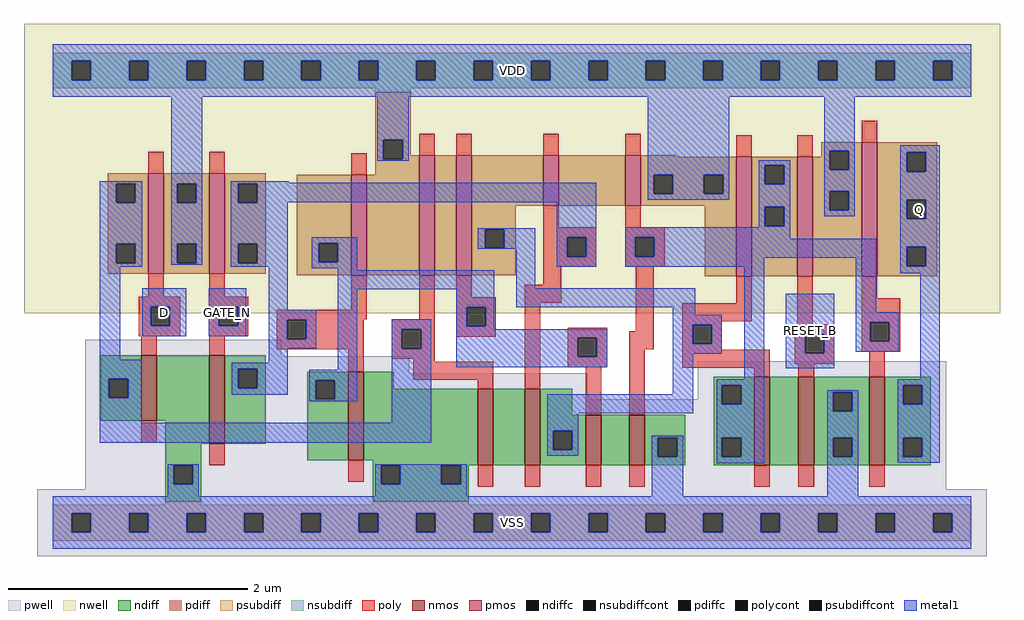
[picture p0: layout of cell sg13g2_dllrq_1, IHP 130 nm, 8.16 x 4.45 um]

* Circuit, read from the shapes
.subckt sg13g2_dllrq_1 GATE_N VSS VDD Q RESET_B D
XM1 VSS D n1 VSS sg13_lv_nmos w=0.55u l=0.13u
XM2 n2 GATE_N VSS VSS sg13_lv_nmos w=0.74u l=0.13u
XM3 VSS n2 n3 VSS sg13_lv_nmos w=0.74u l=0.13u
XM4 n4 n1 VSS VSS sg13_lv_nmos w=0.64u l=0.13u
XM5 n5 n2 n4 VSS sg13_lv_nmos w=0.64u l=0.13u
XM6 n6 n3 n5 VSS sg13_lv_nmos w=0.42u l=0.13u
XM7 VSS n7 n6 VSS sg13_lv_nmos w=0.42u l=0.13u
XM8 n8 n5 n7 VSS sg13_lv_nmos w=0.74u l=0.13u
XM9 VSS RESET_B n8 VSS sg13_lv_nmos w=0.74u l=0.13u
XM10 Q n7 VSS VSS sg13_lv_nmos w=0.74u l=0.13u
XM11 VDD D n1 VDD sg13_lv_pmos w=0.84u l=0.13u
XM12 n2 GATE_N VDD VDD sg13_lv_pmos w=0.84u l=0.13u
XM13 VDD n2 n3 VDD sg13_lv_pmos w=0.84u l=0.13u
XM14 n9 n1 VDD VDD sg13_lv_pmos w=1u l=0.13u
XM15 n5 n3 n9 VDD sg13_lv_pmos w=1u l=0.13u
XM16 n10 n2 n5 VDD sg13_lv_pmos w=0.42u l=0.13u
XM17 VDD n7 n10 VDD sg13_lv_pmos w=0.42u l=0.13u
XM18 n7 n5 VDD VDD sg13_lv_pmos w=1u l=0.13u
XM19 VDD RESET_B n7 VDD sg13_lv_pmos w=1u l=0.13u
XM20 Q n7 VDD VDD sg13_lv_pmos w=1.12u l=0.13u
.ends

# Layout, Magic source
magic
tech ihp-sg13g2
magscale 1 2
<< nwell >>
rect -48 350 1584 834
<< pwell >>
rect 54 278 382 306
rect 54 250 596 278
rect 54 206 895 250
rect 1079 206 1494 270
rect 54 56 1494 206
rect -26 -56 1562 56
<< nmos >>
rect 148 170 174 280
rect 262 132 288 280
rect 494 104 520 252
rect 711 96 737 224
rect 789 96 815 224
rect 891 96 917 180
rect 964 96 990 180
rect 1173 96 1199 244
rect 1247 96 1273 244
rect 1365 96 1391 244
<< pmos >>
rect 160 416 186 584
rect 262 416 288 584
rect 499 414 525 582
rect 613 414 639 614
rect 675 414 701 614
rect 820 530 846 614
rect 957 530 983 614
rect 1143 412 1169 612
rect 1245 412 1271 612
rect 1353 412 1379 636
<< ndiff >>
rect 80 241 148 280
rect 80 209 94 241
rect 126 209 148 241
rect 80 170 148 209
rect 174 170 262 280
rect 188 132 262 170
rect 288 257 356 280
rect 288 225 310 257
rect 342 225 356 257
rect 288 132 356 225
rect 426 238 494 252
rect 426 206 440 238
rect 472 206 494 238
rect 188 96 248 132
rect 426 104 494 206
rect 520 224 570 252
rect 520 104 711 224
rect 188 64 202 96
rect 234 64 248 96
rect 535 96 711 104
rect 737 96 789 224
rect 815 180 869 224
rect 1105 230 1173 244
rect 1105 198 1119 230
rect 1151 198 1173 230
rect 815 154 891 180
rect 815 122 837 154
rect 869 122 891 154
rect 815 96 891 122
rect 917 96 964 180
rect 990 142 1058 180
rect 990 110 1012 142
rect 1044 110 1058 142
rect 990 96 1058 110
rect 1105 142 1173 198
rect 1105 110 1119 142
rect 1151 110 1173 142
rect 1105 96 1173 110
rect 1199 96 1247 244
rect 1273 218 1365 244
rect 1273 186 1305 218
rect 1337 186 1365 218
rect 1273 142 1365 186
rect 1273 110 1305 142
rect 1337 110 1365 142
rect 1273 96 1365 110
rect 1391 230 1468 244
rect 1391 198 1422 230
rect 1454 198 1468 230
rect 1391 142 1468 198
rect 1391 110 1422 142
rect 1454 110 1468 142
rect 1391 96 1468 110
rect 188 36 248 64
rect 535 64 549 96
rect 581 64 650 96
rect 682 64 696 96
rect 535 36 696 64
<< pdiff >>
rect 539 640 599 720
rect 92 567 160 584
rect 92 535 106 567
rect 138 535 160 567
rect 92 466 160 535
rect 92 434 106 466
rect 138 434 160 466
rect 92 416 160 434
rect 186 567 262 584
rect 186 535 208 567
rect 240 535 262 567
rect 186 466 262 535
rect 186 434 208 466
rect 240 434 262 466
rect 186 416 262 434
rect 288 567 356 584
rect 539 608 553 640
rect 585 614 599 640
rect 585 608 613 614
rect 539 582 613 608
rect 288 535 310 567
rect 342 535 356 567
rect 288 466 356 535
rect 288 434 310 466
rect 342 434 356 466
rect 288 416 356 434
rect 408 467 499 582
rect 408 435 445 467
rect 477 435 499 467
rect 408 414 499 435
rect 525 414 613 582
rect 639 414 675 614
rect 701 530 820 614
rect 846 530 957 614
rect 983 612 1043 614
rect 1285 622 1353 636
rect 1285 612 1299 622
rect 983 582 1143 612
rect 983 550 1005 582
rect 1037 550 1089 582
rect 1121 550 1143 582
rect 983 530 1143 550
rect 701 491 774 530
rect 701 459 723 491
rect 755 459 774 491
rect 701 414 774 459
rect 1090 412 1143 530
rect 1169 598 1245 612
rect 1169 566 1191 598
rect 1223 566 1245 598
rect 1169 528 1245 566
rect 1169 496 1191 528
rect 1223 496 1245 528
rect 1169 412 1245 496
rect 1271 590 1299 612
rect 1331 590 1353 622
rect 1271 554 1353 590
rect 1271 522 1299 554
rect 1331 522 1353 554
rect 1271 412 1353 522
rect 1379 619 1479 636
rect 1379 587 1428 619
rect 1460 587 1479 619
rect 1379 540 1479 587
rect 1379 508 1428 540
rect 1460 508 1479 540
rect 1379 461 1479 508
rect 1379 429 1428 461
rect 1460 429 1479 461
rect 1379 412 1479 429
<< ndiffc >>
rect 94 209 126 241
rect 310 225 342 257
rect 440 206 472 238
rect 202 64 234 96
rect 1119 198 1151 230
rect 837 122 869 154
rect 1012 110 1044 142
rect 1119 110 1151 142
rect 1305 186 1337 218
rect 1305 110 1337 142
rect 1422 198 1454 230
rect 1422 110 1454 142
rect 549 64 581 96
rect 650 64 682 96
<< pdiffc >>
rect 106 535 138 567
rect 106 434 138 466
rect 208 535 240 567
rect 208 434 240 466
rect 553 608 585 640
rect 310 535 342 567
rect 310 434 342 466
rect 445 435 477 467
rect 1005 550 1037 582
rect 1089 550 1121 582
rect 723 459 755 491
rect 1191 566 1223 598
rect 1191 496 1223 528
rect 1299 590 1331 622
rect 1299 522 1331 554
rect 1428 587 1460 619
rect 1428 508 1460 540
rect 1428 429 1460 461
<< psubdiff >>
rect 188 30 248 36
rect 535 30 696 36
rect 0 16 1536 30
rect 0 -16 32 16
rect 64 -16 128 16
rect 160 -16 224 16
rect 256 -16 320 16
rect 352 -16 416 16
rect 448 -16 512 16
rect 544 -16 608 16
rect 640 -16 704 16
rect 736 -16 800 16
rect 832 -16 896 16
rect 928 -16 992 16
rect 1024 -16 1088 16
rect 1120 -16 1184 16
rect 1216 -16 1280 16
rect 1312 -16 1376 16
rect 1408 -16 1472 16
rect 1504 -16 1536 16
rect 0 -30 1536 -16
<< nsubdiff >>
rect 0 772 1536 786
rect 0 740 32 772
rect 64 740 128 772
rect 160 740 224 772
rect 256 740 320 772
rect 352 740 416 772
rect 448 740 512 772
rect 544 740 608 772
rect 640 740 704 772
rect 736 740 800 772
rect 832 740 896 772
rect 928 740 992 772
rect 1024 740 1088 772
rect 1120 740 1184 772
rect 1216 740 1280 772
rect 1312 740 1376 772
rect 1408 740 1472 772
rect 1504 740 1536 772
rect 0 726 1536 740
rect 539 720 599 726
<< psubdiffcont >>
rect 32 -16 64 16
rect 128 -16 160 16
rect 224 -16 256 16
rect 320 -16 352 16
rect 416 -16 448 16
rect 512 -16 544 16
rect 608 -16 640 16
rect 704 -16 736 16
rect 800 -16 832 16
rect 896 -16 928 16
rect 992 -16 1024 16
rect 1088 -16 1120 16
rect 1184 -16 1216 16
rect 1280 -16 1312 16
rect 1376 -16 1408 16
rect 1472 -16 1504 16
<< nsubdiffcont >>
rect 32 740 64 772
rect 128 740 160 772
rect 224 740 256 772
rect 320 740 352 772
rect 416 740 448 772
rect 512 740 544 772
rect 608 740 640 772
rect 704 740 736 772
rect 800 740 832 772
rect 896 740 928 772
rect 992 740 1024 772
rect 1088 740 1120 772
rect 1184 740 1216 772
rect 1280 740 1312 772
rect 1376 740 1408 772
rect 1472 740 1504 772
<< poly >>
rect 160 584 186 620
rect 262 584 288 620
rect 499 582 525 618
rect 613 614 639 650
rect 675 614 701 650
rect 820 614 846 650
rect 957 614 983 650
rect 160 378 186 416
rect 262 378 288 416
rect 1143 612 1169 648
rect 1245 612 1271 648
rect 1353 636 1379 672
rect 820 494 846 530
rect 957 494 983 530
rect 820 477 909 494
rect 820 445 860 477
rect 892 445 909 477
rect 820 428 909 445
rect 957 477 1023 494
rect 957 445 974 477
rect 1006 445 1023 477
rect 957 428 1023 445
rect 144 361 213 378
rect 144 329 164 361
rect 196 329 213 361
rect 144 312 213 329
rect 261 361 327 378
rect 261 329 278 361
rect 310 329 327 361
rect 499 356 525 414
rect 261 312 327 329
rect 375 340 525 356
rect 613 340 639 414
rect 375 339 520 340
rect 148 280 174 312
rect 262 280 288 312
rect 375 307 392 339
rect 424 307 520 339
rect 375 290 520 307
rect 148 134 174 170
rect 494 252 520 290
rect 567 323 639 340
rect 567 291 584 323
rect 616 291 639 323
rect 675 377 701 414
rect 820 398 850 428
rect 675 360 741 377
rect 675 328 692 360
rect 724 328 741 360
rect 675 311 741 328
rect 789 368 850 398
rect 567 274 639 291
rect 603 269 639 274
rect 262 96 288 132
rect 603 239 737 269
rect 711 224 737 239
rect 789 224 815 368
rect 861 309 927 326
rect 975 320 1005 428
rect 1143 367 1169 412
rect 861 277 878 309
rect 910 277 927 309
rect 861 260 927 277
rect 964 290 1005 320
rect 1053 337 1169 367
rect 1053 331 1119 337
rect 1245 332 1271 412
rect 1353 375 1379 412
rect 1353 335 1417 375
rect 1053 299 1070 331
rect 1102 299 1119 331
rect 494 68 520 104
rect 891 180 917 260
rect 964 180 990 290
rect 1053 289 1119 299
rect 1241 315 1307 332
rect 1053 259 1199 289
rect 1241 283 1258 315
rect 1290 283 1307 315
rect 1353 303 1367 335
rect 1399 303 1417 335
rect 1353 286 1417 303
rect 1241 266 1307 283
rect 1173 244 1199 259
rect 1247 244 1273 266
rect 1365 244 1391 286
rect 711 60 737 96
rect 789 60 815 96
rect 891 60 917 96
rect 964 60 990 96
rect 1173 60 1199 96
rect 1247 60 1273 96
rect 1365 60 1391 96
<< polycont >>
rect 860 445 892 477
rect 974 445 1006 477
rect 164 329 196 361
rect 278 329 310 361
rect 392 307 424 339
rect 584 291 616 323
rect 692 328 724 360
rect 878 277 910 309
rect 1070 299 1102 331
rect 1258 283 1290 315
rect 1367 303 1399 335
<< metal1 >>
rect 0 772 1536 800
rect 0 740 32 772
rect 64 740 128 772
rect 160 740 224 772
rect 256 740 320 772
rect 352 740 416 772
rect 448 740 512 772
rect 544 740 608 772
rect 640 740 704 772
rect 736 740 800 772
rect 832 740 896 772
rect 928 740 992 772
rect 1024 740 1088 772
rect 1120 740 1184 772
rect 1216 740 1280 772
rect 1312 740 1376 772
rect 1408 740 1472 772
rect 1504 740 1536 772
rect 0 712 1536 740
rect 79 567 150 571
rect 79 535 106 567
rect 138 535 150 567
rect 79 466 150 535
rect 79 434 106 466
rect 138 434 150 466
rect 79 428 150 434
rect 198 567 250 712
rect 543 640 595 712
rect 543 608 553 640
rect 585 608 595 640
rect 543 605 595 608
rect 995 582 1131 712
rect 1290 622 1341 712
rect 198 535 208 567
rect 240 535 250 567
rect 198 466 250 535
rect 198 434 208 466
rect 240 434 250 466
rect 198 431 250 434
rect 298 568 395 571
rect 298 567 909 568
rect 298 535 310 567
rect 342 536 909 567
rect 995 550 1005 582
rect 1037 550 1089 582
rect 1121 550 1131 582
rect 995 540 1131 550
rect 1181 598 1233 606
rect 1181 566 1191 598
rect 1223 566 1233 598
rect 342 535 393 536
rect 298 466 393 535
rect 711 491 807 492
rect 298 434 310 466
rect 342 434 393 466
rect 298 428 393 434
rect 79 272 113 428
rect 150 361 223 392
rect 150 329 164 361
rect 196 329 223 361
rect 150 312 223 329
rect 261 361 324 392
rect 261 329 278 361
rect 310 329 324 361
rect 261 312 324 329
rect 361 356 393 428
rect 433 467 509 477
rect 433 435 445 467
rect 477 435 509 467
rect 711 459 723 491
rect 755 459 807 491
rect 711 458 807 459
rect 433 425 509 435
rect 477 422 509 425
rect 477 390 738 422
rect 361 339 441 356
rect 361 307 392 339
rect 424 307 441 339
rect 361 292 441 307
rect 79 241 149 272
rect 361 267 393 292
rect 79 209 94 241
rect 126 209 149 241
rect 299 257 393 267
rect 299 225 310 257
rect 342 225 393 257
rect 477 256 509 390
rect 675 360 738 390
rect 775 392 807 458
rect 843 477 909 536
rect 1181 528 1233 566
rect 1181 496 1191 528
rect 1223 496 1233 528
rect 1290 590 1299 622
rect 1331 590 1341 622
rect 1290 554 1341 590
rect 1290 522 1299 554
rect 1331 522 1341 554
rect 1290 512 1341 522
rect 1417 619 1483 631
rect 1417 587 1428 619
rect 1460 587 1483 619
rect 1417 540 1483 587
rect 1181 494 1233 496
rect 843 445 860 477
rect 892 445 909 477
rect 843 428 909 445
rect 957 477 1233 494
rect 957 445 974 477
rect 1006 475 1233 477
rect 1417 508 1428 540
rect 1460 508 1483 540
rect 1006 445 1377 475
rect 957 443 1377 445
rect 957 428 1190 443
rect 775 360 1074 392
rect 299 214 393 225
rect 429 238 509 256
rect 79 167 149 209
rect 429 206 440 238
rect 472 206 509 238
rect 429 203 509 206
rect 567 323 633 340
rect 567 291 584 323
rect 616 291 633 323
rect 567 167 633 291
rect 675 328 692 360
rect 724 328 738 360
rect 675 323 738 328
rect 1037 348 1074 360
rect 1037 331 1119 348
rect 675 309 927 323
rect 675 277 878 309
rect 910 277 927 309
rect 675 260 927 277
rect 1037 299 1070 331
rect 1102 299 1119 331
rect 1037 282 1119 299
rect 1037 215 1071 282
rect 1156 240 1190 428
rect 1226 315 1307 383
rect 1226 283 1258 315
rect 1290 283 1307 315
rect 1343 352 1377 443
rect 1417 461 1483 508
rect 1417 429 1428 461
rect 1460 429 1483 461
rect 1417 417 1483 429
rect 1343 335 1415 352
rect 1343 303 1367 335
rect 1399 303 1415 335
rect 1343 286 1415 303
rect 1226 258 1307 283
rect 1451 240 1483 417
rect 79 134 633 167
rect 827 183 1071 215
rect 1110 230 1190 240
rect 1110 198 1119 230
rect 1151 198 1190 230
rect 1413 230 1483 240
rect 827 154 879 183
rect 827 122 837 154
rect 869 122 879 154
rect 827 112 879 122
rect 1002 142 1054 145
rect 1002 110 1012 142
rect 1044 110 1054 142
rect 192 96 244 98
rect 192 64 202 96
rect 234 64 244 96
rect 192 44 244 64
rect 539 96 692 98
rect 539 64 549 96
rect 581 64 650 96
rect 682 64 692 96
rect 539 44 692 64
rect 1002 44 1054 110
rect 1110 142 1190 198
rect 1110 110 1119 142
rect 1151 110 1190 142
rect 1110 99 1190 110
rect 1295 218 1347 221
rect 1295 186 1305 218
rect 1337 186 1347 218
rect 1295 142 1347 186
rect 1295 110 1305 142
rect 1337 110 1347 142
rect 1295 44 1347 110
rect 1413 198 1422 230
rect 1454 198 1483 230
rect 1413 142 1483 198
rect 1413 110 1422 142
rect 1454 110 1483 142
rect 1413 100 1483 110
rect 0 16 1536 44
rect 0 -16 32 16
rect 64 -16 128 16
rect 160 -16 224 16
rect 256 -16 320 16
rect 352 -16 416 16
rect 448 -16 512 16
rect 544 -16 608 16
rect 640 -16 704 16
rect 736 -16 800 16
rect 832 -16 896 16
rect 928 -16 992 16
rect 1024 -16 1088 16
rect 1120 -16 1184 16
rect 1216 -16 1280 16
rect 1312 -16 1376 16
rect 1408 -16 1472 16
rect 1504 -16 1536 16
rect 0 -44 1536 -16
<< labels >>
flabel metal1 s 261 312 324 392 0 FreeSans 400 0 0 0 GATE_N
port 2 nsew
flabel metal1 s 0 -44 1536 44 0 FreeSans 400 0 0 0 VSS
port 3 nsew
flabel metal1 s 0 712 1536 800 0 FreeSans 400 0 0 0 VDD
port 4 nsew
flabel metal1 s 1417 417 1483 631 0 FreeSans 400 0 0 0 Q
port 5 nsew
flabel metal1 s 1226 258 1307 383 0 FreeSans 400 0 0 0 RESET_B
port 6 nsew
flabel metal1 s 150 312 223 392 0 FreeSans 400 0 0 0 D
port 7 nsew
<< properties >>
string FIXED_BBOX 0 0 1536 756
<< end >>
